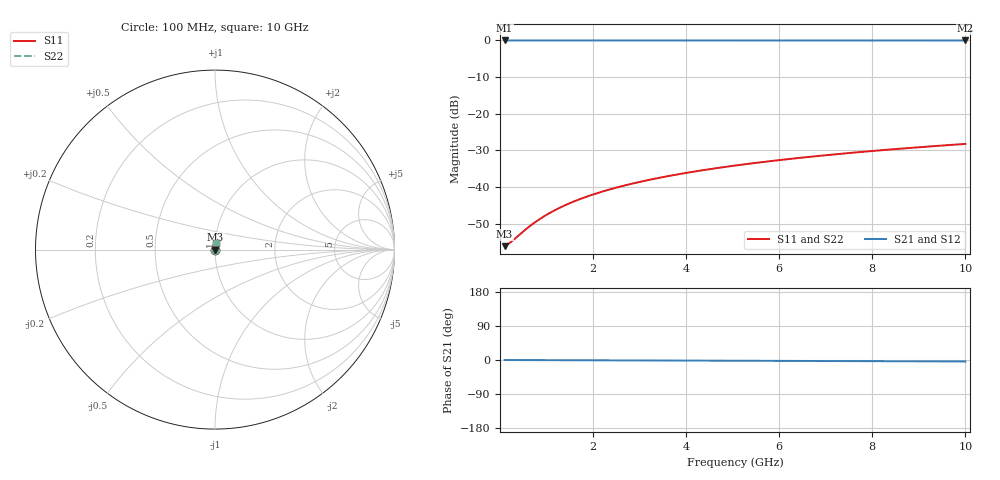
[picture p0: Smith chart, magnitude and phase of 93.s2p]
# Hz S RI R 50.00
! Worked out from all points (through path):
!   100 points, 100 MHz to 10 GHz, reference 50 ohm
!   highest |S21| = -0.01 dB at 100 MHz (marker M1); lowest = 0.0 dB at 10 GHz (marker M2)
!   lowest |S11| = -56.2 dB at 100 MHz (marker M3), VSWR 1.00, Z = 50.2 + j0.0386 ohm
!   |S11| at or under -10 dB: start of sweep to end of sweep
!   |S22| runs from -56.2 to -28.3 dB; largest |S21 - S12| = 0
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1e8  0.0015 0.000385  0.9985 -0.000673  0.9985 -0.000673  0.0015 0.000385
2e8  0.00151 0.00077  0.9985 -0.00135  0.9985 -0.00135  0.00151 0.00077
3e8  0.00152 0.00115  0.9985 -0.00202  0.9985 -0.00202  0.00152 0.00115
5e8  0.00154 0.00192  0.9985 -0.00337  0.9985 -0.00337  0.00154 0.00192
7e8  0.00155 0.00269  0.9984 -0.00471  0.9984 -0.00471  0.00155 0.00269
8e8  0.00156 0.00308  0.9984 -0.00539  0.9984 -0.00539  0.00156 0.00308
1e9  0.00158 0.00385  0.9984 -0.00673  0.9984 -0.00673  0.00158 0.00385
1.2e9  0.00159 0.00462  0.9984 -0.00808  0.9984 -0.00808  0.00159 0.00462
1.4e9  0.00161 0.00539  0.9984 -0.00942  0.9984 -0.00942  0.00161 0.00539
1.6e9  0.00163 0.00616  0.9984 -0.0108  0.9984 -0.0108  0.00163 0.00616
1.8e9  0.00165 0.00693  0.9983 -0.0121  0.9983 -0.0121  0.00165 0.00693
2.1e9  0.00169 0.00808  0.9983 -0.0141  0.9983 -0.0141  0.00169 0.00808
2.5e9  0.00174 0.00962  0.9982 -0.0168  0.9982 -0.0168  0.00174 0.00962
2.9e9  0.00181 0.0112  0.9981 -0.0195  0.9981 -0.0195  0.00181 0.0112
3.4e9  0.0019 0.0131  0.998 -0.0229  0.998 -0.0229  0.0019 0.0131
4.2e9  0.00207 0.0162  0.9978 -0.0283  0.9978 -0.0283  0.00207 0.0162
5.1e9  0.0023 0.0196  0.9976 -0.0343  0.9976 -0.0343  0.0023 0.0196
5.9e9  0.00253 0.0227  0.9973 -0.0397  0.9973 -0.0397  0.00253 0.0227
6.7e9  0.00281 0.0258  0.997 -0.0451  0.997 -0.0451  0.00281 0.0258
7.5e9  0.00311 0.0288  0.9966 -0.0505  0.9966 -0.0505  0.00311 0.0288
8.4e9  0.00349 0.0323  0.9962 -0.0565  0.9962 -0.0565  0.00349 0.0323
1e10  0.00428 0.0384  0.9953 -0.0673  0.9953 -0.0673  0.00428 0.0384
